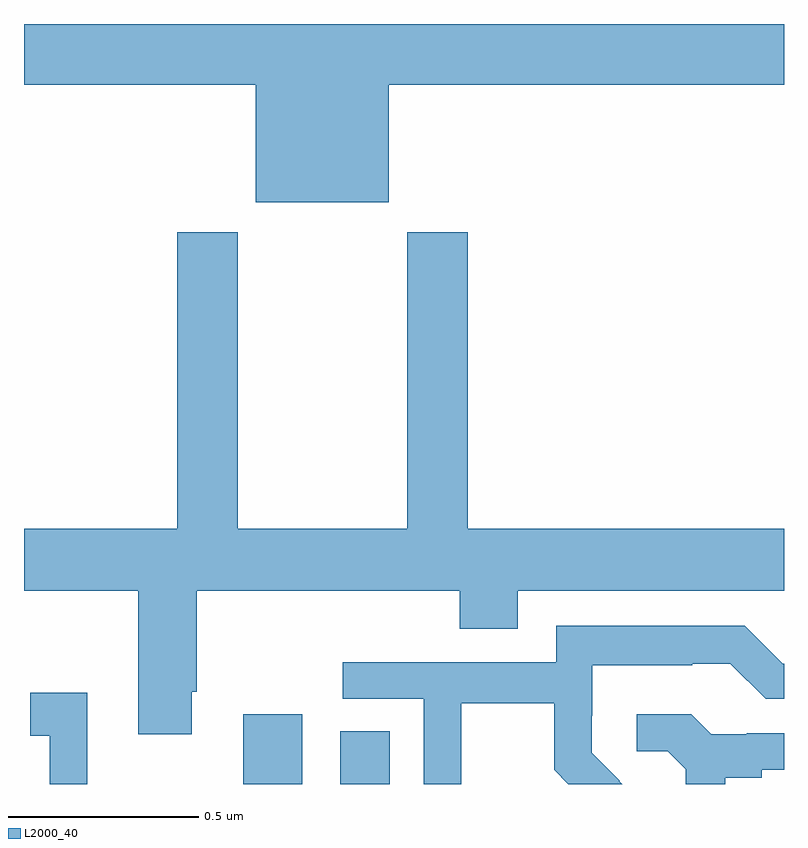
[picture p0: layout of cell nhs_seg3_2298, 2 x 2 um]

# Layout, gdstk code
import gdstk
lib = gdstk.Library(unit=1e-6, precision=1e-09)
def R(c, l, rs):  # rectangles x0, y0, x1, y1
    for r in rs: c.add(gdstk.rectangle(r[:2], r[2:], *l))
def P(c, l, *ps):  # polygons
    for p in ps: c.add(gdstk.Polygon(p, *l))
L2000_40 = (2000, 40)

nhs_seg3_2298 = lib.new_cell('nhs_seg3_2298')
R(nhs_seg3_2298, L2000_40, [(139.577,708.4,139.732,708.583), (139.832,708.4,139.963,708.539)])
P(nhs_seg3_2298, L2000_40, [(139.96,710.24),(141,710.24),(141,710.4),(139,710.4),(139,710.24),(139.61,710.24),(139.61,709.931),(139.96,709.931)],
  [(139.441,708.643),(139.454,708.643),(139.454,708.908),(140.147,708.908),(140.147,708.809),(140.299,708.809),(140.299,708.908),(141,708.908),(141,709.072),(140.168,709.072),(140.168,709.852),(140.008,709.852),(140.008,709.072),(139.563,709.072),(139.563,709.852),(139.403,709.852),(139.403,709.072),(139,709.072),(139,708.908),(139.301,708.908),(139.301,708.531),(139.441,708.531)],
  [(140.151,708.612),(140.395,708.612),(140.395,708.437),(140.432,708.4),(140.574,708.4),(140.567,708.407),(140.568,708.408),(140.494,708.482),(140.494,708.579),(140.496,708.579),(140.496,708.713),(140.759,708.713),(140.759,708.717),(140.859,708.717),(140.952,708.624),(141,708.624),(141,708.717),(140.997,708.717),(140.897,708.817),(140.4,708.817),(140.4,708.72),(139.839,708.72),(139.839,708.624),(140.052,708.624),(140.052,708.4),(140.151,708.4)],
  [(139.166,708.64),(139.017,708.64),(139.017,708.527),(139.068,708.527),(139.068,708.4),(139.166,708.4)],
  [(140.845,708.416),(140.941,708.416),(140.941,708.438),(141,708.438),(141,708.534),(140.902,708.534),(140.902,708.531),(140.808,708.531),(140.756,708.583),(140.613,708.583),(140.613,708.486),(140.694,708.486),(140.741,708.439),(140.741,708.4),(140.845,708.4)])

lib.write_gds('nhs_seg3_2298.gds')
